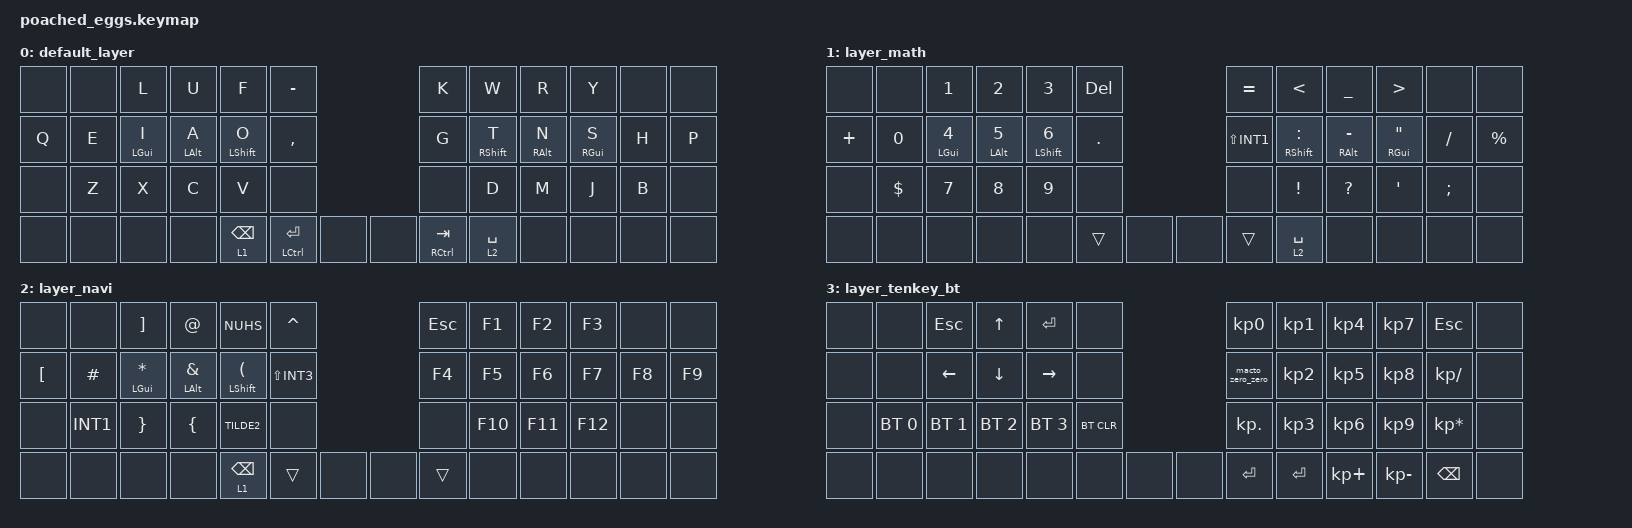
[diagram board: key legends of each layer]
#include <dt-bindings/zmk/mouse.h>
#include <behaviors.dtsi>
#include <dt-bindings/zmk/bt.h>
#include <dt-bindings/zmk/keys.h>

&mt {
    flavor = "tap-preferred";
    tapping-term-ms = <225>;
    quick-tap-ms = <200>;
    require-prior-idle-ms = <150>;
};

&lt {
    flavor = "balanced";
    tapping-term-ms = <175>;
    quick-tap-ms = <200>;
};

&sk {
};

&sl {
};

&caps_word {
};

&key_repeat {
};

/ {
    conditional_layers {
    };

    combos {
        compatible = "zmk,combos";

        combo_lang2 {
            bindings = <&kp LANG2>;
            key-positions = <15 16>;
        };

        combo_lang1 {
            bindings = <&kp LANG1>;
            key-positions = <19 20>;
        };

        combo_tenkey_bt {
            bindings = <&tog 3>;
            key-positions = <11 49>;
        };

        combo_studio_unlock {
            bindings = <&studio_unlock>;
            key-positions = <42 43>;
        };
    };

    macros {
        macto_zero_zero: macto_zero_zero {
            compatible = "zmk,behavior-macro";
            #binding-cells = <0>;
            bindings = <&kp KP_N0 &kp KP_N0>;
            label = "MACTO_ZERO_ZERO";
        };
    };

    keymap {
        compatible = "zmk,keymap";

        default_layer {
            bindings = <
&none  &none  &kp L       &kp U       &kp F        &kp MINUS                      &kp K          &kp W        &kp R       &kp Y       &none  &none
&kp Q  &kp E  &mt LGUI I  &mt LALT A  &mt LSHFT O  &kp COMMA                      &kp G          &mt RSHFT T  &mt RALT N  &mt RGUI S  &kp H  &kp P
&none  &kp Z  &kp X       &kp C       &kp V        &none                          &none          &kp D        &kp M       &kp J       &kp B  &none
&none  &none  &none       &none       &lt 1 BSPC   &mt LCTRL ENTER  &none  &none  &mt RCTRL TAB  &lt 2 SPACE  &none       &none       &none  &none
            >;
        };

        layer_math {
            bindings = <
&none     &none       &kp N1       &kp N2       &kp N3        &kp DEL                &kp EQUAL     &kp LT           &kp UNDER       &kp GT        &none     &none
&kp PLUS  &kp N0      &mt LGUI N4  &mt LALT N5  &mt LSHFT N6  &kp DOT                &kp LS(INT1)  &mt RSHFT COLON  &mt RALT MINUS  &mt RGUI DQT  &kp FSLH  &kp PRCNT
&none     &kp DOLLAR  &kp N7       &kp N8       &kp N9        &none                  &none         &kp EXCL         &kp QMARK       &kp SQT       &kp SEMI  &none
&none     &none       &none        &none        &none         &trans   &none  &none  &trans        &lt 2 SPACE      &none           &none         &none     &none
            >;
        };

        layer_navi {
            bindings = <
&none     &none     &kp RBKT       &kp AT         &kp NUHS         &kp CARET                   &kp ESC  &kp F1   &kp F2   &kp F3   &none   &none
&kp LBKT  &kp HASH  &mt LGUI STAR  &mt LALT AMPS  &mt LSHFT LPAR   &kp LS(INT3)                &kp F4   &kp F5   &kp F6   &kp F7   &kp F8  &kp F9
&none     &kp INT1  &kp RBRC       &kp LBRC       &kp TILDE2       &none                       &none    &kp F10  &kp F11  &kp F12  &none   &none
&none     &none     &none          &none          &lt 1 BACKSPACE  &trans        &none  &none  &trans   &none    &none    &none    &none   &none
            >;
        };

        layer_tenkey_bt {
            bindings = <
&none  &none         &kp ESCAPE    &kp UP        &kp ENTER     &none                     &kp KP_NUMBER_0   &kp KP_NUMBER_1  &kp KP_NUMBER_4  &kp KP_NUMBER_7  &kp ESC          &none
&none  &none         &kp LEFT      &kp DOWN      &kp RIGHT     &none                     &macto_zero_zero  &kp KP_NUMBER_2  &kp KP_NUMBER_5  &kp KP_NUMBER_8  &kp KP_SLASH     &none
&none  &bt BT_SEL 0  &bt BT_SEL 1  &bt BT_SEL 2  &bt BT_SEL 3  &bt BT_CLR                &kp KP_DOT        &kp KP_NUMBER_3  &kp KP_NUMBER_6  &kp KP_NUMBER_9  &kp KP_MULTIPLY  &none
&none  &none         &none         &none         &none         &none       &none  &none  &kp ENTER         &kp ENTER        &kp KP_PLUS      &kp KP_SUBTRACT  &kp BACKSPACE    &none
            >;
        };
    };
};
